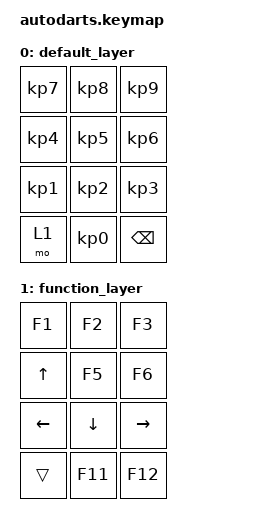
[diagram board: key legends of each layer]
#include <behaviors.dtsi>
#include <dt-bindings/zmk/keys.h>

/ {
    keymap {
        compatible = "zmk,keymap";

        default_layer {
            bindings = <
                &kp KP_N7    &kp KP_N8    &kp KP_N9
                &kp KP_N4    &kp KP_N5    &kp KP_N6
                &kp KP_N1    &kp KP_N2    &kp KP_N3
                &mo 1        &kp KP_N0    &kp BSPC
            >;
        };

        function_layer {
            bindings = <
                &kp F1       &kp F2       &kp F3 
                &kp UP       &kp F5       &kp F6 
                &kp LEFT     &kp DOWN     &kp RIGHT     
                &trans       &kp F11      &kp F12 
            >;
        };
    };
};
